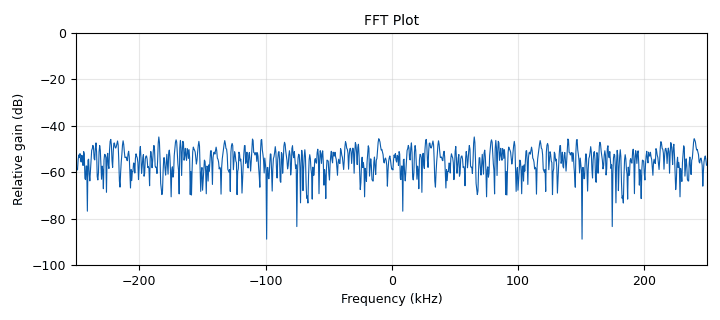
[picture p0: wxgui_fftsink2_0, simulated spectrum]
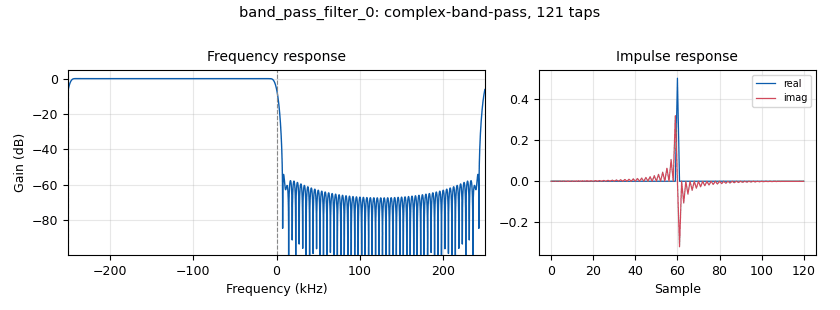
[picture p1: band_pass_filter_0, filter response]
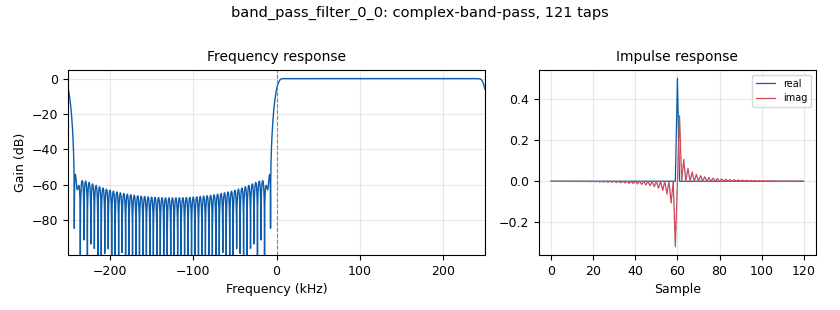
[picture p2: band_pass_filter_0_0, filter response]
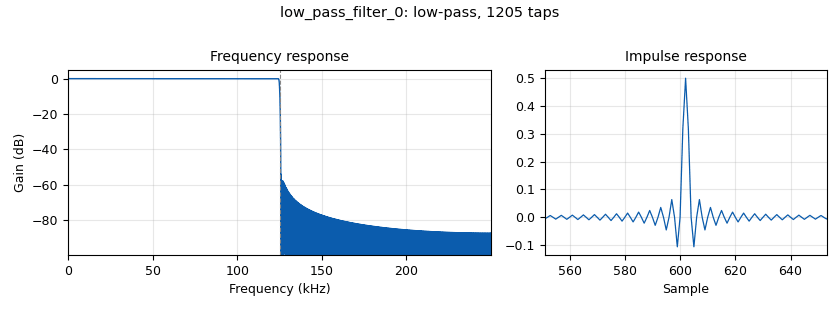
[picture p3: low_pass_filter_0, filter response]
<?xml version='1.0' encoding='utf-8'?>
<flow_graph>
<block>
<key>options</key>
<param><key>id</key><value>top_block</value></param>
<param><key>generate_options</key><value>wx_gui</value></param>
<param><key>category</key><value>Custom</value></param>
</block>
<block>
<key>blocks_multiply_const_vxx</key>
<param><key>id</key><value>blocks_multiply_const_vxx_0</value></param>
<param><key>type</key><value>complex</value></param>
<param><key>const</key><value>low_noise</value></param>
</block>
<block>
<key>variable_check_box</key>
<param><key>id</key><value>low_noise</value></param>
<param><key>label</key><value></value></param>
<param><key>value</key><value>True</value></param>
<param><key>true</key><value>True</value></param>
<param><key>false</key><value>False</value></param>
</block>
<block>
<key>variable_check_box</key>
<param><key>id</key><value>high_noise</value></param>
<param><key>label</key><value></value></param>
<param><key>value</key><value>True</value></param>
<param><key>true</key><value>True</value></param>
<param><key>false</key><value>False</value></param>
</block>
<block>
<key>wxgui_fftsink2</key>
<param><key>id</key><value>wxgui_fftsink2_0</value></param>
<param><key>type</key><value>complex</value></param>
<param><key>title</key><value>FFT Plot</value></param>
<param><key>samp_rate</key><value>samp_rate</value></param>
<param><key>baseband_freq</key><value>0</value></param>
<param><key>y_per_div</key><value>10</value></param>
<param><key>y_divs</key><value>10</value></param>
<param><key>ref_level</key><value>0</value></param>
<param><key>ref_scale</key><value>2.0</value></param>
<param><key>fft_size</key><value>1024</value></param>
<param><key>fft_rate</key><value>15</value></param>
<param><key>peak_hold</key><value>False</value></param>
<param><key>average</key><value>False</value></param>
<param><key>avg_alpha</key><value>0</value></param>
<param><key>win</key><value>None</value></param>
<param><key>freqvar</key><value>None</value></param>
</block>
<block>
<key>blocks_multiply_const_vxx</key>
<param><key>id</key><value>blocks_multiply_const_vxx_0_0</value></param>
<param><key>type</key><value>complex</value></param>
<param><key>const</key><value>high_noise</value></param>
</block>
<block>
<key>gr_throttle</key>
<param><key>id</key><value>gr_throttle_0_1</value></param>
<param><key>type</key><value>complex</value></param>
<param><key>samples_per_second</key><value>samp_rate/2</value></param>
<param><key>vlen</key><value>1</value></param>
</block>
<block>
<key>freq_xlating_fir_filter_xxx</key>
<param><key>id</key><value>freq_xlating_fir_filter_xxx_0</value></param>
<param><key>type</key><value>ccc</value></param>
<param><key>decim</key><value>1</value></param>
<param><key>taps</key><value>10</value></param>
<param><key>center_freq</key><value>samp_rate/4</value></param>
<param><key>samp_rate</key><value>samp_rate</value></param>
</block>
<block>
<key>freq_xlating_fir_filter_xxx</key>
<param><key>id</key><value>freq_xlating_fir_filter_xxx_0_0</value></param>
<param><key>type</key><value>ccc</value></param>
<param><key>decim</key><value>1</value></param>
<param><key>taps</key><value>10</value></param>
<param><key>center_freq</key><value>-samp_rate/4</value></param>
<param><key>samp_rate</key><value>samp_rate</value></param>
</block>
<block>
<key>band_pass_filter</key>
<param><key>id</key><value>band_pass_filter_0</value></param>
<param><key>type</key><value>fir_filter_ccc</value></param>
<param><key>decim</key><value>1</value></param>
<param><key>gain</key><value>1</value></param>
<param><key>samp_rate</key><value>samp_rate</value></param>
<param><key>low_cutoff_freq</key><value>-samp_rate/2</value></param>
<param><key>high_cutoff_freq</key><value>0</value></param>
<param><key>width</key><value>10e3</value></param>
<param><key>win</key><value>firdes.WIN_HAMMING</value></param>
</block>
<block>
<key>band_pass_filter</key>
<param><key>id</key><value>band_pass_filter_0_0</value></param>
<param><key>type</key><value>fir_filter_ccc</value></param>
<param><key>decim</key><value>1</value></param>
<param><key>gain</key><value>1</value></param>
<param><key>samp_rate</key><value>samp_rate</value></param>
<param><key>low_cutoff_freq</key><value>0</value></param>
<param><key>high_cutoff_freq</key><value>samp_rate/2</value></param>
<param><key>width</key><value>10e3</value></param>
<param><key>win</key><value>firdes.WIN_HAMMING</value></param>
</block>
<block>
<key>low_pass_filter</key>
<param><key>id</key><value>low_pass_filter_0</value></param>
<param><key>type</key><value>interp_fir_filter_ccf</value></param>
<param><key>interp</key><value>2</value></param>
<param><key>gain</key><value>1</value></param>
<param><key>samp_rate</key><value>samp_rate</value></param>
<param><key>cutoff_freq</key><value>samp_rate/4</value></param>
<param><key>width</key><value>1e3</value></param>
<param><key>win</key><value>firdes.WIN_HAMMING</value></param>
</block>
<block>
<key>low_pass_filter</key>
<param><key>id</key><value>low_pass_filter_0_0</value></param>
<param><key>type</key><value>interp_fir_filter_ccf</value></param>
<param><key>interp</key><value>2</value></param>
<param><key>gain</key><value>1</value></param>
<param><key>samp_rate</key><value>samp_rate</value></param>
<param><key>cutoff_freq</key><value>samp_rate/4</value></param>
<param><key>width</key><value>1e3</value></param>
<param><key>win</key><value>firdes.WIN_HAMMING</value></param>
</block>
<block>
<key>variable</key>
<param><key>id</key><value>samp_rate</value></param>
<param><key>value</key><value>500e3</value></param>
</block>
<block>
<key>blocks_add_xx</key>
<param><key>id</key><value>blocks_add_xx_0</value></param>
<param><key>type</key><value>complex</value></param>
</block>
<block>
<key>uhd_usrp_sink</key>
<param><key>id</key><value>uhd_usrp_sink_0</value></param>
<param><key>type</key><value>fc32</value></param>
<param><key>dev_addr</key><value></value></param>
<param><key>sync</key><value></value></param>
<param><key>clock_rate</key><value>0.0</value></param>
<param><key>sd_spec0</key><value>A:0</value></param>
<param><key>samp_rate</key><value>samp_rate</value></param>
<param><key>center_freq0</key><value>902e6</value></param>
<param><key>gain0</key><value>0</value></param>
<param><key>ant0</key><value></value></param>
</block>
<block>
<key>blocks_multiply_const_vxx</key>
<param><key>id</key><value>blocks_multiply_const_vxx_1</value></param>
<param><key>type</key><value>complex</value></param>
<param><key>const</key><value>0.1</value></param>
</block>
<block>
<key>gr_throttle</key>
<param><key>id</key><value>gr_throttle_0_1_0</value></param>
<param><key>type</key><value>complex</value></param>
<param><key>samples_per_second</key><value>samp_rate/2</value></param>
<param><key>vlen</key><value>1</value></param>
</block>
<block>
<key>analog_noise_source_x</key>
<param><key>id</key><value>analog_noise_source_x_0</value></param>
<param><key>type</key><value>complex</value></param>
<param><key>noise_type</key><value>analog.GR_GAUSSIAN</value></param>
<param><key>amp</key><value>noise_scale</value></param>
<param><key>seed</key><value>0</value></param>
</block>
<block>
<key>analog_noise_source_x</key>
<param><key>id</key><value>analog_noise_source_x_0_0</value></param>
<param><key>type</key><value>complex</value></param>
<param><key>noise_type</key><value>analog.GR_GAUSSIAN</value></param>
<param><key>amp</key><value>noise_scale</value></param>
<param><key>seed</key><value>0</value></param>
</block>
<block>
<key>variable_slider</key>
<param><key>id</key><value>noise_scale</value></param>
<param><key>label</key><value></value></param>
<param><key>value</key><value>0.01</value></param>
<param><key>min</key><value>0</value></param>
<param><key>max</key><value>1</value></param>
<param><key>num_steps</key><value>100</value></param>
<param><key>style</key><value>wx.SL_HORIZONTAL</value></param>
<param><key>converver</key><value>float_converter</value></param>
</block>
<connection><source_block_id>low_pass_filter_0</source_block_id><sink_block_id>freq_xlating_fir_filter_xxx_0</sink_block_id><source_key>0</source_key><sink_key>0</sink_key></connection>
<connection><source_block_id>freq_xlating_fir_filter_xxx_0</source_block_id><sink_block_id>band_pass_filter_0</sink_block_id><source_key>0</source_key><sink_key>0</sink_key></connection>
<connection><source_block_id>analog_noise_source_x_0</source_block_id><sink_block_id>gr_throttle_0_1</sink_block_id><source_key>0</source_key><sink_key>0</sink_key></connection>
<connection><source_block_id>gr_throttle_0_1</source_block_id><sink_block_id>low_pass_filter_0</sink_block_id><source_key>0</source_key><sink_key>0</sink_key></connection>
<connection><source_block_id>band_pass_filter_0</source_block_id><sink_block_id>blocks_multiply_const_vxx_0</sink_block_id><source_key>0</source_key><sink_key>0</sink_key></connection>
<connection><source_block_id>blocks_multiply_const_vxx_0</source_block_id><sink_block_id>blocks_add_xx_0</sink_block_id><source_key>0</source_key><sink_key>0</sink_key></connection>
<connection><source_block_id>blocks_multiply_const_vxx_0_0</source_block_id><sink_block_id>blocks_add_xx_0</sink_block_id><source_key>0</source_key><sink_key>1</sink_key></connection>
<connection><source_block_id>blocks_add_xx_0</source_block_id><sink_block_id>wxgui_fftsink2_0</sink_block_id><source_key>0</source_key><sink_key>0</sink_key></connection>
<connection><source_block_id>low_pass_filter_0_0</source_block_id><sink_block_id>freq_xlating_fir_filter_xxx_0_0</sink_block_id><source_key>0</source_key><sink_key>0</sink_key></connection>
<connection><source_block_id>freq_xlating_fir_filter_xxx_0_0</source_block_id><sink_block_id>band_pass_filter_0_0</sink_block_id><source_key>0</source_key><sink_key>0</sink_key></connection>
<connection><source_block_id>analog_noise_source_x_0_0</source_block_id><sink_block_id>gr_throttle_0_1_0</sink_block_id><source_key>0</source_key><sink_key>0</sink_key></connection>
<connection><source_block_id>gr_throttle_0_1_0</source_block_id><sink_block_id>low_pass_filter_0_0</sink_block_id><source_key>0</source_key><sink_key>0</sink_key></connection>
<connection><source_block_id>band_pass_filter_0_0</source_block_id><sink_block_id>blocks_multiply_const_vxx_0_0</sink_block_id><source_key>0</source_key><sink_key>0</sink_key></connection>
<connection><source_block_id>blocks_add_xx_0</source_block_id><sink_block_id>blocks_multiply_const_vxx_1</sink_block_id><source_key>0</source_key><sink_key>0</sink_key></connection>
<connection><source_block_id>blocks_multiply_const_vxx_1</source_block_id><sink_block_id>uhd_usrp_sink_0</sink_block_id><source_key>0</source_key><sink_key>0</sink_key></connection>
</flow_graph>
